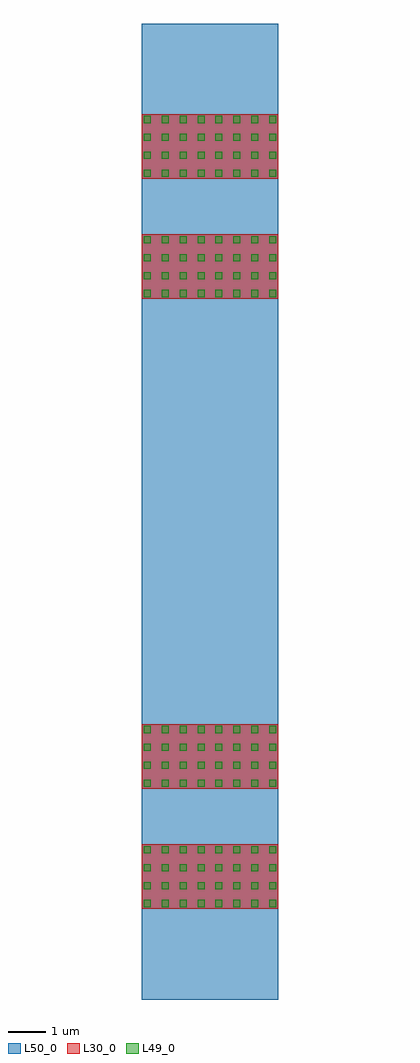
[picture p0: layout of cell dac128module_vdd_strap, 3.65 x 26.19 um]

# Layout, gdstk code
import gdstk
lib = gdstk.Library(unit=1e-6, precision=1e-09)
def R(c, l, rs):  # rectangles x0, y0, x1, y1
    for r in rs: c.add(gdstk.rectangle(r[:2], r[2:], *l))
def A(c, l, x, y, w, h, nx, ny, dx, dy):  # array of equal rectangles
    R(c, l, [(x+i*dx, y+j*dy, x+i*dx+w, y+j*dy+h) for i in range(nx) for j in range(ny)])
L30_0 = (30, 0)
L49_0 = (49, 0)
L50_0 = (50, 0)

via_stack = lib.new_cell('via_stack')
R(via_stack, L30_0, [(-1.825,-0.865,1.825,0.865)])
A(via_stack, L49_0, -1.775, -0.815, 0.19, 0.19, 8, 4, 0.48, 0.48)
R(via_stack, L50_0, [(-1.825,-0.865,1.825,0.865)])

dac128module_vdd_strap = lib.new_cell('dac128module_vdd_strap')
dac128module_vdd_strap.add(gdstk.FlexPath([(1.825,26.19),(1.825,0)], 3.65, ends="flush", simple_path=True, layer=50, datatype=0))  # L50_0
dac128module_vdd_strap.add(gdstk.Reference(via_stack, (1.825,22.895)))
dac128module_vdd_strap.add(gdstk.Reference(via_stack, (1.825,3.295)))
dac128module_vdd_strap.add(gdstk.Reference(via_stack, (1.825,6.525)))
dac128module_vdd_strap.add(gdstk.Reference(via_stack, (1.825,19.665)))

lib.write_gds('dac128module_vdd_strap.gds')
